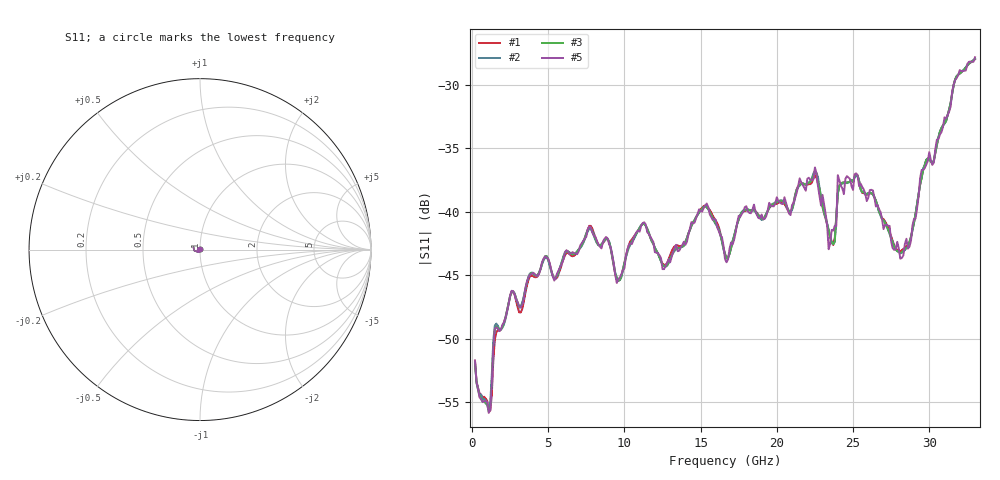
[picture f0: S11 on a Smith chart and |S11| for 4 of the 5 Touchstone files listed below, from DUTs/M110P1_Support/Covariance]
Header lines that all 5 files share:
# GHZ S RI R 50
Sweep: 200 MHz to 33 GHz
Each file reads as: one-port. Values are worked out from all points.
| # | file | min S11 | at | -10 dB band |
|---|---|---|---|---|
| 1 | M110P1_1.s2p | -55.7 dB | 1.2 GHz | over 32.8 GHz wide |
| 2 | M110P1_2.s2p | -55.6 dB | 1.1 GHz | over 32.8 GHz wide |
| 3 | M110P1_5.s2p | -55.8 dB | 1.1 GHz | over 32.8 GHz wide |
| 4 | M110P1_11.s2p | -55.8 dB | 1.1 GHz | over 32.8 GHz wide |
| 5 | M110P1_14.s2p | -55.9 dB | 1.1 GHz | over 32.8 GHz wide |
